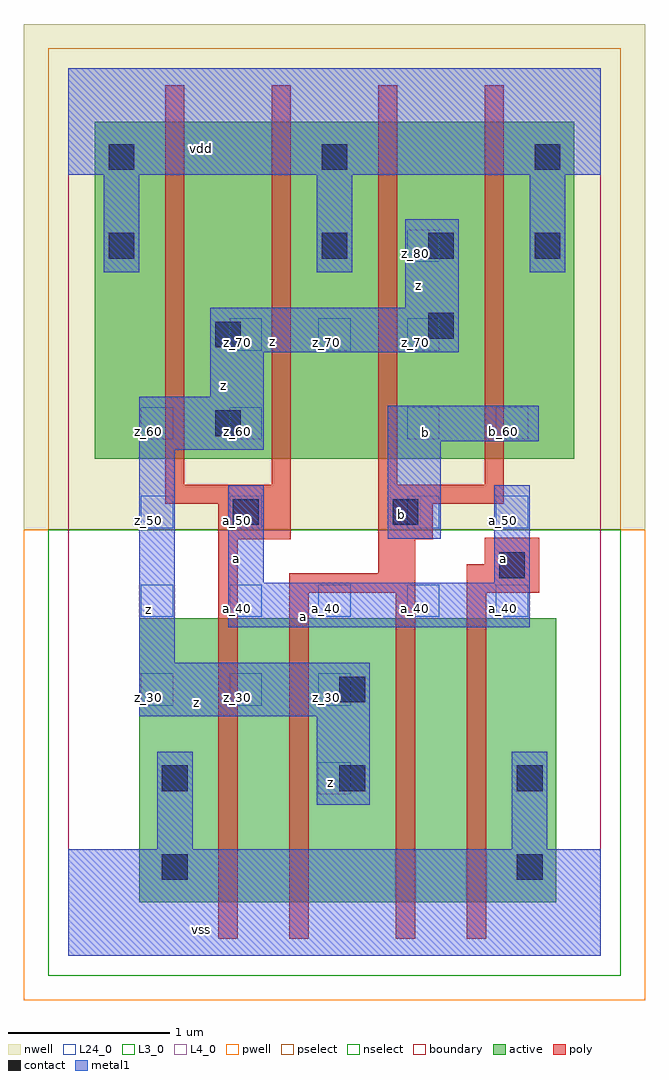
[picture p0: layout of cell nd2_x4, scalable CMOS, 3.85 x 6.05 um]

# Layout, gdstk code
import gdstk
lib = gdstk.Library(unit=1e-6, precision=2.5e-09)
def R(c, l, rs):  # rectangles x0, y0, x1, y1
    for r in rs: c.add(gdstk.rectangle(r[:2], r[2:], *l))
def A(c, l, x, y, w, h, nx, ny, dx, dy):  # array of equal rectangles
    R(c, l, [(x+i*dx, y+j*dy, x+i*dx+w, y+j*dy+h) for i in range(nx) for j in range(ny)])
L3_0 = (3, 0)
L4_0 = (4, 0)
L24_0 = (24, 0)
contact = (25, 0)
pwell = (41, 0)
nwell = (42, 0)
active = (43, 0)
pselect = (44, 0)
nselect = (45, 0)
poly = (46, 0)
metal1 = (49, 0)
boundary = (63, 0)

nd2_x4 = lib.new_cell('nd2_x4')
R(nd2_x4, L3_0, [(0.44,0.33,3.025,2.09)])
R(nd2_x4, L4_0, [(0.165,3.08,3.135,5.17)])
A(nd2_x4, L24_0, 0.45, 1.55, 0.2, 0.2, 3, 1, 0.55, 0)
A(nd2_x4, L24_0, 0.45, 2.1, 0.2, 0.2, 5, 1, 0.55, 0)
A(nd2_x4, L24_0, 1, 3.75, 0.2, 0.2, 3, 1, 0.55, 0)
R(nd2_x4, L24_0, [(1.55,1,1.75,1.2), (0.45,2.65,0.65,2.85), (1,2.65,1.2,2.85), (2.1,2.65,2.3,2.85), (2.65,2.65,2.85,2.85), (0.45,3.2,0.65,3.4), (1,3.2,1.2,3.4), (2.1,3.2,2.3,3.4), (2.65,3.2,2.85,3.4), (2.1,4.3,2.3,4.5)])
A(nd2_x4, contact, 0.58, 1.02, 0.16, 0.16, 3, 1, 1.1, 0)
A(nd2_x4, contact, 1.57, 4.32, 0.16, 0.16, 3, 1, 0.66, 0)
A(nd2_x4, contact, 0.25, 4.87, 0.16, 0.16, 3, 1, 1.32, 0)
R(nd2_x4, contact, [(0.58,0.47,0.74,0.63), (2.78,0.47,2.94,0.63), (1.68,1.57,1.84,1.73), (2.67,2.34,2.83,2.5), (1.02,2.67,1.18,2.83), (2.01,2.67,2.17,2.83), (0.91,3.22,1.07,3.38), (0.91,3.77,1.07,3.93), (2.23,3.825,2.39,3.985), (0.25,4.32,0.41,4.48)])
R(nd2_x4, pwell, [(-0.275,-0.275,3.575,2.64)])
R(nd2_x4, nwell, [(-0.275,2.64,3.575,5.775)])
R(nd2_x4, active, [(0.44,0.33,3.025,2.09), (0.165,3.08,3.135,5.17)])
R(nd2_x4, pselect, [(-0.125,2.64,3.425,5.625)])
R(nd2_x4, nselect, [(-0.125,-0.125,3.425,2.64)])
A(nd2_x4, poly, 0.6, 2.92, 0.12, 2.475, 4, 1, 0.66, 0)
R(nd2_x4, poly, [(0.93,0.105,1.05,2.58), (1.37,0.105,1.49,2.25), (2.03,0.105,2.15,2.25), (2.47,0.105,2.59,2.25), (1.37,2.25,2.15,2.37), (2.47,2.25,2.92,2.425), (1.92,2.37,2.15,2.58), (2.58,2.425,2.92,2.59), (0.93,2.58,1.38,2.8), (1.92,2.58,2.26,2.8), (0.6,2.8,1.38,2.92), (1.92,2.8,2.7,2.92)])
A(nd2_x4, metal1, 0.22, 4.235, 0.22, 0.605, 3, 1, 1.32, 0)
R(nd2_x4, metal1, [(0,0,3.3,0.66), (0.55,0.66,0.77,1.265), (2.75,0.66,2.97,1.265), (1.54,0.935,1.87,1.485), (0.44,1.485,1.87,1.815), (0.44,1.815,0.66,3.135), (0.99,2.035,2.86,2.31), (0.99,2.31,1.21,2.915), (2.64,2.31,2.86,2.915), (1.98,2.585,2.31,3.19), (0.44,3.135,1.21,3.465), (1.98,3.19,2.915,3.41), (0.88,3.465,1.21,3.74), (0.88,3.74,2.42,4.015), (2.09,4.015,2.42,4.565), (0,4.84,3.3,5.5)])
R(nd2_x4, boundary, [(0,0,3.3,5.5)])
nd2_x4.add(gdstk.Label('vss', (0.825,0.165), layer=49, texttype=0))
nd2_x4.add(gdstk.Label('z', (1.6225,1.0725), layer=49, texttype=0))
nd2_x4.add(gdstk.Label('z', (0.7975,1.5675), layer=49, texttype=0))
nd2_x4.add(gdstk.Label('a', (1.4575,2.1025), layer=49, texttype=0))
nd2_x4.add(gdstk.Label('a', (2.695,2.46), layer=49, texttype=0))
nd2_x4.add(gdstk.Label('b', (2.0625,2.735), layer=49, texttype=0))
nd2_x4.add(gdstk.Label('a', (1.045,2.46), layer=49, texttype=0))
nd2_x4.add(gdstk.Label('z', (0.495,2.145), layer=49, texttype=0))
nd2_x4.add(gdstk.Label('b', (2.2125,3.245), layer=49, texttype=0))
nd2_x4.add(gdstk.Label('z', (0.9625,3.5325), layer=49, texttype=0))
nd2_x4.add(gdstk.Label('z', (1.265,3.8075), layer=49, texttype=0))
nd2_x4.add(gdstk.Label('z', (2.1725,4.1525), layer=49, texttype=0))
nd2_x4.add(gdstk.Label('vdd', (0.825,5.005), layer=49, texttype=0))
nd2_x4.add(gdstk.Label('z_20', (1.6,1.05), layer=24, texttype=0))
nd2_x4.add(gdstk.Label('a_40', (1.05,2.15), layer=24, texttype=0))
nd2_x4.add(gdstk.Label('z_30', (0.5,1.6), layer=24, texttype=0))
nd2_x4.add(gdstk.Label('b_60', (2.7,3.25), layer=24, texttype=0))
nd2_x4.add(gdstk.Label('z_80', (2.15,4.35), layer=24, texttype=0))
nd2_x4.add(gdstk.Label('a_40', (2.7,2.15), layer=24, texttype=0))
nd2_x4.add(gdstk.Label('b_60', (2.15,3.25), layer=24, texttype=0))
nd2_x4.add(gdstk.Label('z_70', (1.05,3.8), layer=24, texttype=0))
nd2_x4.add(gdstk.Label('z_60', (0.5,3.25), layer=24, texttype=0))
nd2_x4.add(gdstk.Label('z_50', (0.5,2.7), layer=24, texttype=0))
nd2_x4.add(gdstk.Label('z_40', (0.5,2.15), layer=24, texttype=0))
nd2_x4.add(gdstk.Label('z_30', (1.05,1.6), layer=24, texttype=0))
nd2_x4.add(gdstk.Label('z_30', (1.6,1.6), layer=24, texttype=0))
nd2_x4.add(gdstk.Label('z_70', (1.6,3.8), layer=24, texttype=0))
nd2_x4.add(gdstk.Label('z_70', (2.15,3.8), layer=24, texttype=0))
nd2_x4.add(gdstk.Label('a_50', (1.05,2.7), layer=24, texttype=0))
nd2_x4.add(gdstk.Label('a_40', (1.6,2.15), layer=24, texttype=0))
nd2_x4.add(gdstk.Label('a_40', (2.15,2.15), layer=24, texttype=0))
nd2_x4.add(gdstk.Label('b_50', (2.15,2.7), layer=24, texttype=0))
nd2_x4.add(gdstk.Label('a_50', (2.7,2.7), layer=24, texttype=0))
nd2_x4.add(gdstk.Label('z_60', (1.05,3.25), layer=24, texttype=0))

lib.write_gds('nd2_x4.gds')
